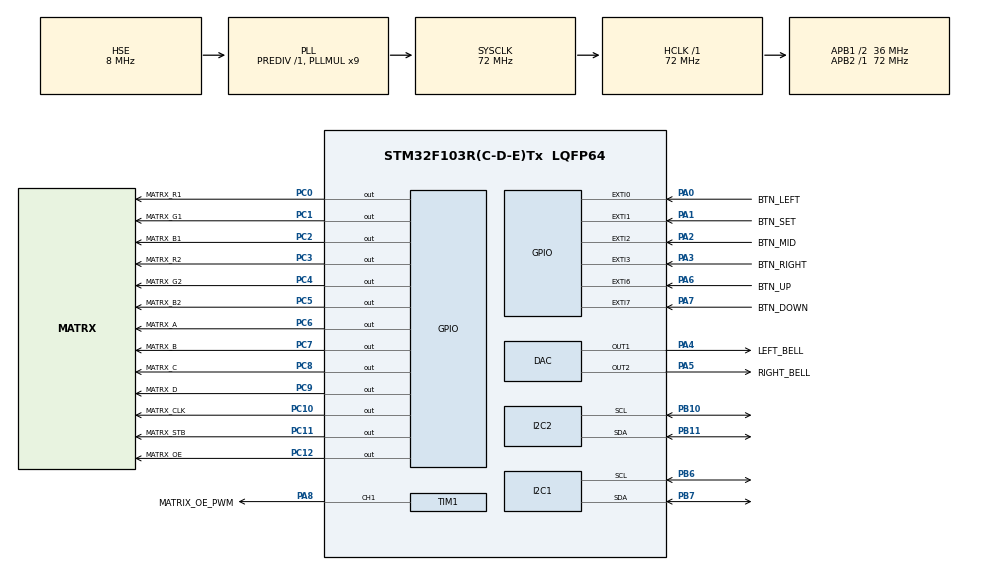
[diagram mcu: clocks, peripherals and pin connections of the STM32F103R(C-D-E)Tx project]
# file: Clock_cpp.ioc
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DAC.DAC_Trigger=DAC_TRIGGER_T6_TRGO
DAC.DAC_Trigger2=DAC_TRIGGER_T6_TRGO
Dma.DAC_CH1.0.Direction=DMA_MEMORY_TO_PERIPH
Dma.DAC_CH1.0.Instance=DMA2_Channel3
Dma.DAC_CH1.0.MemDataAlignment=DMA_MDATAALIGN_HALFWORD
Dma.DAC_CH1.0.MemInc=DMA_MINC_ENABLE
Dma.DAC_CH1.0.Mode=DMA_NORMAL
Dma.DAC_CH1.0.PeriphDataAlignment=DMA_PDATAALIGN_HALFWORD
Dma.DAC_CH1.0.PeriphInc=DMA_PINC_DISABLE
Dma.DAC_CH1.0.Priority=DMA_PRIORITY_LOW
Dma.DAC_CH2.1.Direction=DMA_MEMORY_TO_PERIPH
Dma.DAC_CH2.1.Instance=DMA2_Channel4
Dma.DAC_CH2.1.MemDataAlignment=DMA_MDATAALIGN_HALFWORD
Dma.DAC_CH2.1.MemInc=DMA_MINC_ENABLE
Dma.DAC_CH2.1.Mode=DMA_NORMAL
Dma.DAC_CH2.1.PeriphDataAlignment=DMA_PDATAALIGN_HALFWORD
Dma.DAC_CH2.1.PeriphInc=DMA_PINC_DISABLE
Dma.DAC_CH2.1.Priority=DMA_PRIORITY_LOW
Dma.Request0=DAC_CH1
Dma.Request1=DAC_CH2
I2C1.I2C_Mode=I2C_Standard
I2C2.I2C_Mode=I2C_Standard
Mcu.Family=STM32F1
Mcu.Name=STM32F103R(C-D-E)Tx
Mcu.Package=LQFP64
NVIC.DMA2_Channel3_IRQn=true\:0\:0\:false\:false\:true\:false\:true\:true
NVIC.DMA2_Channel4_5_IRQn=true\:0\:0\:false\:false\:true\:false\:true\:true
NVIC.EXTI0_IRQn=true\:0\:0\:false\:false\:true\:true\:true\:true
NVIC.EXTI1_IRQn=true\:0\:0\:false\:false\:true\:true\:true\:true
NVIC.EXTI2_IRQn=true\:0\:0\:false\:false\:true\:true\:true\:true
NVIC.EXTI3_IRQn=true\:0\:0\:false\:false\:true\:true\:true\:true
NVIC.EXTI9_5_IRQn=true\:0\:0\:false\:false\:true\:true\:true\:true
NVIC.I2C1_ER_IRQn=true\:0\:0\:false\:false\:true\:true\:true\:true
NVIC.I2C1_EV_IRQn=true\:0\:0\:false\:false\:true\:true\:true\:true
NVIC.I2C2_ER_IRQn=true\:0\:0\:false\:false\:true\:true\:true\:true
NVIC.I2C2_EV_IRQn=true\:0\:0\:false\:false\:true\:true\:true\:true
NVIC.PriorityGroup=NVIC_PRIORITYGROUP_4
NVIC.RTC_Alarm_IRQn=true\:0\:0\:false\:false\:true\:true\:true\:true
NVIC.RTC_IRQn=true\:1\:0\:true\:false\:true\:true\:true\:true
NVIC.TIM2_IRQn=true\:0\:0\:true\:false\:true\:true\:true\:true
NVIC.TIM3_IRQn=true\:1\:0\:true\:false\:true\:true\:true\:true
NVIC.TIM4_IRQn=true\:1\:0\:true\:false\:true\:true\:true\:true
NVIC.TIM6_IRQn=true\:0\:0\:false\:false\:true\:true\:true\:true
PA0-WKUP.GPIO_Label=BTN_LEFT
PA0-WKUP.GPIO_ModeDefaultEXTI=GPIO_MODE_IT_RISING_FALLING
PA0-WKUP.GPIO_PuPd=GPIO_PULLUP
PA0-WKUP.Signal=GPXTI0
PA1.GPIO_Label=BTN_SET
PA1.GPIO_ModeDefaultEXTI=GPIO_MODE_IT_RISING_FALLING
PA1.GPIO_PuPd=GPIO_PULLUP
PA1.Signal=GPXTI1
PA13.Mode=Trace_Asynchronous_SW
PA13.Signal=SYS_JTMS-SWDIO
PA14.Mode=Trace_Asynchronous_SW
PA14.Signal=SYS_JTCK-SWCLK
PA2.GPIO_Label=BTN_MID
PA2.GPIO_ModeDefaultEXTI=GPIO_MODE_IT_RISING_FALLING
PA2.GPIO_PuPd=GPIO_PULLUP
PA2.Signal=GPXTI2
PA3.GPIO_Label=BTN_RIGHT
PA3.GPIO_ModeDefaultEXTI=GPIO_MODE_IT_RISING_FALLING
PA3.GPIO_PuPd=GPIO_PULLUP
PA3.Signal=GPXTI3
PA4.GPIO_Label=LEFT_BELL
PA4.Signal=COMP_DAC1_group
PA5.GPIO_Label=RIGHT_BELL
PA5.Signal=COMP_DAC2_group
PA6.GPIO_Label=BTN_UP
PA6.GPIO_ModeDefaultEXTI=GPIO_MODE_IT_RISING_FALLING
PA6.GPIO_PuPd=GPIO_PULLUP
PA6.Signal=GPXTI6
PA7.GPIO_Label=BTN_DOWN
PA7.GPIO_ModeDefaultEXTI=GPIO_MODE_IT_RISING_FALLING
PA7.GPIO_PuPd=GPIO_PULLUP
PA7.Signal=GPXTI7
PA8.GPIO_Label=MATRIX_OE_PWM
PA8.Signal=S_TIM1_CH1
PB10.GPIO_Pu=GPIO_PULLUP
PB10.Mode=I2C
PB10.Signal=I2C2_SCL
PB11.GPIO_Pu=GPIO_PULLUP
PB11.Mode=I2C
PB11.Signal=I2C2_SDA
PB3.Mode=Trace_Asynchronous_SW
PB3.Signal=SYS_JTDO-TRACESWO
PB6.GPIO_Pu=GPIO_PULLUP
PB6.Mode=I2C
PB6.Signal=I2C1_SCL
PB7.GPIO_Pu=GPIO_PULLUP
PB7.Mode=I2C
PB7.Signal=I2C1_SDA
PC0.GPIO_Label=MATRX_R1
PC0.GPIO_PuPd=GPIO_PULLDOWN
PC0.GPIO_Speed=GPIO_SPEED_FREQ_HIGH
PC0.PinState=GPIO_PIN_RESET
PC0.Signal=GPIO_Output
PC1.GPIO_Label=MATRX_G1
PC1.GPIO_PuPd=GPIO_PULLDOWN
PC1.GPIO_Speed=GPIO_SPEED_FREQ_HIGH
PC1.Signal=GPIO_Output
PC10.GPIO_Label=MATRX_CLK
PC10.GPIO_PuPd=GPIO_PULLDOWN
PC10.GPIO_Speed=GPIO_SPEED_FREQ_HIGH
PC10.Signal=GPIO_Output
PC11.GPIO_Label=MATRX_STB
PC11.GPIO_PuPd=GPIO_PULLDOWN
PC11.GPIO_Speed=GPIO_SPEED_FREQ_HIGH
PC11.Signal=GPIO_Output
PC12.GPIO_Label=MATRX_OE
PC12.GPIO_PuPd=GPIO_PULLDOWN
PC12.GPIO_Speed=GPIO_SPEED_FREQ_HIGH
PC12.Signal=GPIO_Output
PC14-OSC32_IN.Mode=LSE-External-Oscillator
PC14-OSC32_IN.Signal=RCC_OSC32_IN
PC15-OSC32_OUT.Mode=LSE-External-Oscillator
PC15-OSC32_OUT.Signal=RCC_OSC32_OUT
PC2.GPIO_Label=MATRX_B1
PC2.GPIO_PuPd=GPIO_PULLDOWN
PC2.GPIO_Speed=GPIO_SPEED_FREQ_HIGH
PC2.Signal=GPIO_Output
PC3.GPIO_Label=MATRX_R2
PC3.GPIO_PuPd=GPIO_PULLDOWN
PC3.GPIO_Speed=GPIO_SPEED_FREQ_HIGH
PC3.Signal=GPIO_Output
PC4.GPIO_Label=MATRX_G2
PC4.GPIO_PuPd=GPIO_PULLDOWN
PC4.GPIO_Speed=GPIO_SPEED_FREQ_HIGH
PC4.Signal=GPIO_Output
PC5.GPIO_Label=MATRX_B2
PC5.GPIO_PuPd=GPIO_PULLDOWN
PC5.GPIO_Speed=GPIO_SPEED_FREQ_HIGH
PC5.Signal=GPIO_Output
PC6.GPIO_Label=MATRX_A
PC6.GPIO_PuPd=GPIO_PULLDOWN
PC6.GPIO_Speed=GPIO_SPEED_FREQ_HIGH
PC6.Signal=GPIO_Output
PC7.GPIO_Label=MATRX_B
PC7.GPIO_PuPd=GPIO_PULLDOWN
PC7.GPIO_Speed=GPIO_SPEED_FREQ_HIGH
PC7.Signal=GPIO_Output
PC8.GPIO_Label=MATRX_C
PC8.GPIO_PuPd=GPIO_PULLDOWN
PC8.GPIO_Speed=GPIO_SPEED_FREQ_HIGH
PC8.Signal=GPIO_Output
PC9.GPIO_Label=MATRX_D
PC9.GPIO_PuPd=GPIO_PULLDOWN
PC9.GPIO_Speed=GPIO_SPEED_FREQ_HIGH
PC9.Signal=GPIO_Output
PD0-OSC_IN.Mode=HSE-External-Oscillator
PD0-OSC_IN.Signal=RCC_OSC_IN
PD1-OSC_OUT.Mode=HSE-External-Oscillator
PD1-OSC_OUT.Signal=RCC_OSC_OUT
ProjectManager.HeapSize=0x200
ProjectManager.StackSize=0x400
ProjectManager.TargetToolchain=STM32CubeIDE
RCC.AHBFreq_Value=72000000
RCC.APB1CLKDivider=RCC_HCLK_DIV2
RCC.APB1Freq_Value=36000000
RCC.APB1TimFreq_Value=72000000
RCC.APB2Freq_Value=72000000
RCC.APB2TimFreq_Value=72000000
RCC.HCLKFreq_Value=72000000
RCC.PLLMUL=RCC_PLL_MUL9
RCC.PLLSourceVirtual=RCC_PLLSOURCE_HSE
RCC.RTCClockSelection=RCC_RTCCLKSOURCE_LSE
RCC.SYSCLKFreq_VALUE=72000000
RCC.SYSCLKSource=RCC_SYSCLKSOURCE_PLLCLK
RCC.USBFreq_Value=48000000
RCC.USBPrescaler=RCC_USBCLKSOURCE_PLL_DIV1_5
RTC.AutoPrediv=RTC_AUTO_1_SECOND
RTC.Format=RTC_FORMAT_BIN
RTC.WeekDay=RTC_WEEKDAY_MONDAY
SH.COMP_DAC1_group.0=DAC_OUT1,DAC_OUT1
SH.COMP_DAC2_group.0=DAC_OUT2,DAC_OUT2
SH.S_TIM1_CH1.0=TIM1_CH1,PWM Generation1 CH1
TIM1.AutoReloadPreload=TIM_AUTORELOAD_PRELOAD_DISABLE
TIM1.Channel-PWM\ Generation1\ CH1=TIM_CHANNEL_1
TIM1.OCFastMode_PWM-PWM\ Generation1\ CH1=TIM_OCFAST_ENABLE
TIM1.OCIdleState_1=TIM_OCIDLESTATE_SET
TIM1.OCPolarity_1=TIM_OCPOLARITY_LOW
TIM1.Period=510
TIM1.Prescaler=0
TIM1.Pulse-PWM\ Generation1\ CH1=510
TIM2.Period=249
TIM2.Prescaler=71
TIM3.AutoReloadPreload=TIM_AUTORELOAD_PRELOAD_DISABLE
TIM3.Period=20000
TIM3.Prescaler=7200
TIM4.Period=5000
TIM4.Prescaler=7200
TIM6.AutoReloadPreload=TIM_AUTORELOAD_PRELOAD_ENABLE
TIM6.Prescaler=71
TIM6.TIM_MasterOutputTrigger=TIM_TRGO_UPDATE
VP_RTC_VS_RTC_Activate.Mode=RTC_Enabled
VP_RTC_VS_RTC_Calendar.Mode=RTC_Calendar
VP_TIM1_VS_ClockSourceINT.Mode=Internal
VP_TIM2_VS_ClockSourceINT.Mode=Internal
VP_TIM3_VS_ClockSourceINT.Mode=Internal
VP_TIM3_VS_OPM.Mode=OPM_bit
VP_TIM4_VS_ClockSourceINT.Mode=Internal
VP_TIM6_VS_ClockSourceINT.Mode=Enable_Timer
board=custom

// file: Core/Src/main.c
/* USER CODE BEGIN Header */
/**
 ******************************************************************************
 * @file           : main.c
 * @brief          : Main program body
 ******************************************************************************
 * @attention
 *
 * <h2><center>&copy; Copyright (c) 2021 STMicroelectronics.
 * All rights reserved.</center></h2>
 *
 * This software component is licensed by ST under BSD 3-Clause license,
 * the "License"; You may not use this file except in compliance with the
 * License. You may obtain a copy of the License at:
 *                        opensource.org/licenses/BSD-3-Clause
 *
 ******************************************************************************
 */
// FLASH 512 Kb RAM 64Kb
//volatile
/* USER CODE END Header */
#include "main.h"
#include "dac.h"
#include "dma.h"
#include "i2c.h"
#include "rtc.h"
#include "tim.h"
#include "gpio.h"

/* USER CODE BEGIN Includes */
#include <stdio.h>

#include "buttons.h"
#include "sensors.h"
#include "backup.h"

#include "aht10.h"
#include "MatrixRGB.h"
#include "Screen/Screens.h"
#include "pomidoro.h"

#include "audio.h"

/* USER CODE END Includes */

/* USER CODE BEGIN PV */
extern void initialise_monitor_handles(void);
/* USER CODE END PV */

void SystemClock_Config(void);

/* USER CODE BEGIN 0 */
// printf() через SWD
//int __io_putchar(int ch)
//{
//  ITM_SendChar(ch);
//  return ch;
//}
int __io_putchar(int ch)
{
  ITM_SendChar((uint32_t)ch);
  return ch;
}

// Вывод printf через VCP.
//int _write_r (struct _reent *r, int file, char * ptr, int len)
//{
//  (void)r;
//  (void)file;
//  CDC_Transmit_FS((uint8_t *)ptr, len);
//  return len;
//}

/* USER CODE END 0 */

int main(void)
{

  /* MCU Configuration--------------------------------------------------------*/

  /* Reset of all peripherals, Initializes the Flash interface and the Systick. */
  HAL_Init();

  /* Configure the system clock */
  SystemClock_Config();

  /* Initialize all configured peripherals */
  MX_GPIO_Init();
  MX_DMA_Init();
  MX_RTC_Init();
  MX_I2C1_Init();
  MX_I2C2_Init();
  MX_TIM2_Init();
  MX_TIM3_Init();
  MX_TIM4_Init();
  MX_DAC_Init();
  MX_TIM1_Init();
  MX_TIM6_Init();
  /* USER CODE BEGIN 2 */
//  sTime.Hours = 16;
//  sTime.Minutes = 32;
//  sTime.Seconds = 51;
//  HAL_RTC_SetTime(&hrtc, &sTime, RTC_FORMAT_BIN);
//  sDate.Date = 20;
//  sDate.Month = 1;
//  sDate.Year = 21;
//  HAL_RTC_SetDate(&hrtc, &sDate, RTC_FORMAT_BIN);

  puts(" "); // Для вывода первого символа, чтобы не съедало
  printf("Button data size: %ld\n", buttonSound.dataLength);
  HAL_Delay(100);
  initButtons();
  initSensors();
  initScreen();
  initMatrix();
  initAudio();
  //для i2c
  HAL_I2C_EV_IRQHandler(&hi2c1);

  //HAL_RTC_GetAlarm();
  /* USER CODE END 2 */

  /* Infinite loop */
  /* USER CODE BEGIN WHILE */
//  char str_tx[30];
//  char str_rx[255];
//  uint32_t len=0;
//  HAL_Delay(500);
//  sprintf(str_tx,"USB send data\n");

  // Для секундного таймера
  HAL_RTCEx_SetSecond_IT(&hrtc);
  //Таймер для экрана
  HAL_TIM_Base_Start_IT(&htim2);
  drawScreen(screenCur);
  HAL_TIM_Base_Start_IT(&htim4); // Таймер для миганий
  HAL_TIM_PWM_Start(&htim1, TIM_CHANNEL_1);
//  HAL_DAC_Start(hdac, Channel);
//  saveDateBKP(&sDateEdit);
  loadDateBKP(&sDate);
  loadAlarmsBKP();
  loadBrightnessBKP();
  loadPomidoroBKP();
  setDate(&sDate);
  getTime(&sTime);

  resetPomidoro();

  puts("Enter to loop");
  while (1)
  {
    switch(haveClick)
    {
    case buttonClick:
      clickButton();
      break;
    case buttonLongClick:
      longClickButton();
      break;
    default:
      break;
    }
  }
    /* USER CODE END WHILE */

    /* USER CODE BEGIN 3 */
//  HAL_RTCEx_SetSmoothCalib(hrtc, SmoothCalibPeriod, SmoothCalibPlusPulses, SmouthCalibMinusPulsesValue);
  /* USER CODE END 3 */
}

void SystemClock_Config(void)
{
  RCC_OscInitTypeDef RCC_OscInitStruct = {0};
  RCC_ClkInitTypeDef RCC_ClkInitStruct = {0};
  RCC_PeriphCLKInitTypeDef PeriphClkInit = {0};

  /** Initializes the RCC Oscillators according to the specified parameters
  * in the RCC_OscInitTypeDef structure.
  */
  RCC_OscInitStruct.OscillatorType = RCC_OSCILLATORTYPE_HSE|RCC_OSCILLATORTYPE_LSE;
  RCC_OscInitStruct.HSEState = RCC_HSE_ON;
  RCC_OscInitStruct.HSEPredivValue = RCC_HSE_PREDIV_DIV1;
  RCC_OscInitStruct.LSEState = RCC_LSE_ON;
  RCC_OscInitStruct.HSIState = RCC_HSI_ON;
  RCC_OscInitStruct.PLL.PLLState = RCC_PLL_ON;
  RCC_OscInitStruct.PLL.PLLSource = RCC_PLLSOURCE_HSE;
  RCC_OscInitStruct.PLL.PLLMUL = RCC_PLL_MUL9;
  if (HAL_RCC_OscConfig(&RCC_OscInitStruct) != HAL_OK)
  {
    Error_Handler();
  }

  /** Initializes the CPU, AHB and APB buses clocks
  */
  RCC_ClkInitStruct.ClockType = RCC_CLOCKTYPE_HCLK|RCC_CLOCKTYPE_SYSCLK
                              |RCC_CLOCKTYPE_PCLK1|RCC_CLOCKTYPE_PCLK2;
  RCC_ClkInitStruct.SYSCLKSource = RCC_SYSCLKSOURCE_PLLCLK;
  RCC_ClkInitStruct.AHBCLKDivider = RCC_SYSCLK_DIV1;
  RCC_ClkInitStruct.APB1CLKDivider = RCC_HCLK_DIV2;
  RCC_ClkInitStruct.APB2CLKDivider = RCC_HCLK_DIV1;

  if (HAL_RCC_ClockConfig(&RCC_ClkInitStruct, FLASH_LATENCY_2) != HAL_OK)
  {
    Error_Handler();
  }
  PeriphClkInit.PeriphClockSelection = RCC_PERIPHCLK_RTC;
  PeriphClkInit.RTCClockSelection = RCC_RTCCLKSOURCE_LSE;
  if (HAL_RCCEx_PeriphCLKConfig(&PeriphClkInit) != HAL_OK)
  {
    Error_Handler();
  }
}

/* USER CODE BEGIN 4 */
void ReceiveUSB(uint8_t *str, uint32_t len)
{
  str[len] = 0;
  printf("Receeive string[%s], len: %lu\n", str, len);
}

//----------------------------------------------------------------------------------------------------------------------
void HAL_TIM_PeriodElapsedCallback(TIM_HandleTypeDef *htim)
{
  if(htim->Instance == TIM2) //check if the interrupt comes from TIM2
  {
    updateScreen();
  }
  else if(htim->Instance == TIM3)
  {
//      printf("HAL_TIM_PeriodElapsedCallback\n");
    longClickButtonCallback();
  }
  else if(htim->Instance == TIM4)
  {
    blink(1); // Тут меняем цвет
  }
}

//----------------------------------------------------------------------------------------------------------------------
void HAL_TIM_OC_DelayElapsedCallback(TIM_HandleTypeDef *htim)
{
//  printf("HAL_TIM_OC_DelayElapsedCallback\n");
  enableInterupt();
}

/* USER CODE END 4 */

void Error_Handler(void)
{
  /* USER CODE BEGIN Error_Handler_Debug */
  printf("Error_Handler\n");
  /* User can add his own implementation to report the HAL error return state */
  __disable_irq();
  while (1)
  {
  }
  /* USER CODE END Error_Handler_Debug */
}
